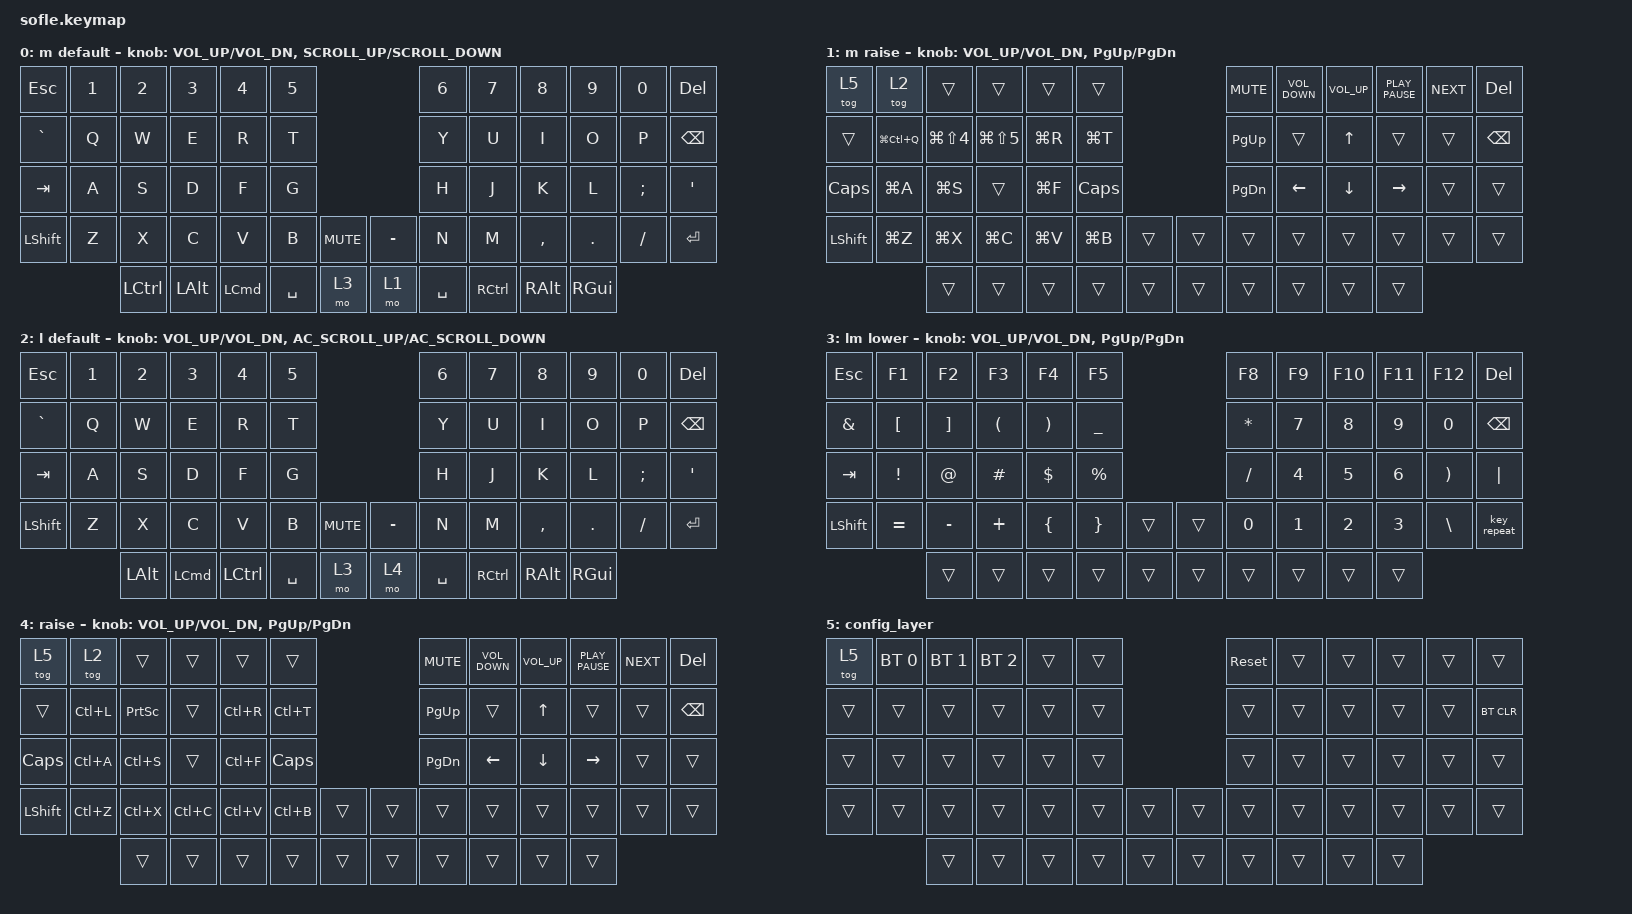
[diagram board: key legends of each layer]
/*
 * Copyright (c) 2020 The ZMK Contributors
 *
 * SPDX-License-Identifier: MIT
 */

#include <behaviors.dtsi>
#include <dt-bindings/zmk/bt.h>
#include <dt-bindings/zmk/keys.h>

#define BASE 0
#define LOWER 1
#define RAISE 2
#define ADJUST 3

/ {
    // Activate ADJUST layer by pressing raise and lower

    conditional_layers {
        compatible = "zmk,conditional-layers";

        boffa {
            if-layers = <2 5>;
            then-layer = <5>;
        };
    };

    keymap {
        compatible = "zmk,keymap";

        default_layer {
            display-name = "m default";

            // ------------------------------------------------------------------------------------------------------------
            // |   `   |  1  |  2  |  3   |  4   |  5   |                   |  6   |  7    |  8    |  9   |   0   |       |
            // |  ESC  |  Q  |  W  |  E   |  R   |  T   |                   |  Y   |  U    |  I    |  O   |   P   | BKSPC |
            // |  TAB  |  A  |  S  |  D   |  F   |  G   |                   |  H   |  J    |  K    |  L   |   ;   |   '   |
            // | SHIFT |  Z  |  X  |  C   |  V   |  B   |  MUTE  |  |       |  N   |  M    |  ,    |  .   |   /   | SHIFT |
            //               | GUI | ALT  | CTRL | LOWER|  ENTER |  | SPACE | RAISE| CTRL  | ALT   | GUI  |

            bindings = <
&kp ESC    &kp N1  &kp N2            &kp N3    &kp N4            &kp N5                              &kp N6     &kp N7     &kp N8     &kp N9    &kp N0    &kp DELETE
&kp GRAVE  &kp Q   &kp W             &kp E     &kp R             &kp T                               &kp Y      &kp U      &kp I      &kp O     &kp P     &kp BACKSPACE
&kp TAB    &kp A   &kp S             &kp D     &kp F             &kp G                               &kp H      &kp J      &kp K      &kp L     &kp SEMI  &kp SQT
&kp LSHFT  &kp Z   &kp X             &kp C     &kp V             &kp B      &kp C_MUTE    &kp MINUS  &kp N      &kp M      &kp COMMA  &kp DOT   &kp FSLH  &kp ENTER
                   &kp LEFT_CONTROL  &kp LALT  &kp LEFT_COMMAND  &kp SPACE  &mo 3         &mo 1      &kp SPACE  &kp RCTRL  &kp RALT   &kp RGUI
            >;

            sensor-bindings =
                <&inc_dec_kp C_VOL_UP C_VOL_DN>,
                <&inc_dec_kp K_SCROLL_UP K_SCROLL_DOWN>;
        };

        raise_layer {
            display-name = "m raise";

            // ------------------------------------------------------------------------------------------------------------
            // | BTCLR | BT1  | BT2  |  BT3  |  BT4  |  BT5 |                |      |      |       |      |       |       |
            // |       | INS  | PSCR | GUI   |       |      |                | PGUP |      |   ^   |      |       |       |
            // |       | ALT  | CTRL | SHIFT |       | CAPS |                | PGDN |   <- |   v   |  ->  |  DEL  | BKSPC |
            // |       | UNDO | CUT  | COPY  | PASTE |      |      |  |      |      |      |       |      |       |       |
            //                |      |       |       |      |      |  |      |      |      |       |      |

            bindings = <
&tog 5          &tog 2         &trans                &trans          &trans     &trans                       &kp K_MUTE  &kp C_VOLUME_DOWN  &kp C_VOLUME_UP  &kp K_PLAY_PAUSE  &kp K_NEXT  &kp DELETE
&trans          &kp LG(LC(Q))  &kp LG(LS(NUMBER_4))  &kp LG(LS(N5))  &kp LG(R)  &kp LG(T)                    &kp PG_UP   &trans             &kp UP           &trans            &trans      &kp BACKSPACE
&kp CLCK        &kp LG(A)      &kp LG(S)             &trans          &kp LG(F)  &kp CLCK                     &kp PG_DN   &kp LEFT           &kp DOWN         &kp RIGHT         &trans      &trans
&kp LEFT_SHIFT  &kp LG(Z)      &kp LG(X)             &kp LG(C)       &kp LG(V)  &kp LG(B)  &trans    &trans  &trans      &trans             &trans           &trans            &trans      &trans
                               &trans                &trans          &trans     &trans     &trans    &trans  &trans      &trans             &trans           &trans
            >;

            sensor-bindings = <&inc_dec_kp C_VOL_UP C_VOL_DN &inc_dec_kp PG_UP PG_DN>;
        };

        linux_default_layer {
            display-name = "l default";
            bindings = <
&kp ESC    &kp N1  &kp N2        &kp N3            &kp N4     &kp N5                              &kp N6     &kp N7     &kp N8     &kp N9    &kp N0    &kp DELETE
&kp GRAVE  &kp Q   &kp W         &kp E             &kp R      &kp T                               &kp Y      &kp U      &kp I      &kp O     &kp P     &kp BACKSPACE
&kp TAB    &kp A   &kp S         &kp D             &kp F      &kp G                               &kp H      &kp J      &kp K      &kp L     &kp SEMI  &kp SQT
&kp LSHFT  &kp Z   &kp X         &kp C             &kp V      &kp B      &kp C_MUTE    &kp MINUS  &kp N      &kp M      &kp COMMA  &kp DOT   &kp FSLH  &kp ENTER
                   &kp LEFT_ALT  &kp LEFT_COMMAND  &kp LCTRL  &kp SPACE  &mo 3         &mo 4      &kp SPACE  &kp RCTRL  &kp RALT   &kp RGUI
            >;

            sensor-bindings =
                <&inc_dec_kp C_VOL_UP C_VOL_DN>,
                <&inc_dec_kp C_AC_SCROLL_UP C_AC_SCROLL_DOWN>;
        };

        lower_layer {
            display-name = "lm lower";

            // TODO: Some binds are waiting for shifted keycode support.
            // ------------------------------------------------------------------------------------------------------------
            // |       |  F1 |  F2 |  F3  |  F4  |  F5  |                   |  F6  |  F7   |  F8   |  F9  |  F10  |  F11  |
            // |   `   |  1  |  2  |  3   |  4   |  5   |                   |  6   |  7    |  8    |  9   |   0   |  F12  |
            // |       |  !  |  @  |  #   |  $   |  %   |                   |  ^   |  &    |  *    |  (   |   )   |   |   |
            // |       |  =  |  -  |  +   |  {   |  }   |        |  |       |  [   |  ]    |  ;    |  :   |   \   |       |
            //               |     |      |      |      |        |  |       |      |       |       |      |

            bindings = <
&kp ESCAPE      &kp F1            &kp F2             &kp F3                &kp F4                 &kp F5                            &kp F8        &kp F9        &kp F10       &kp F11       &kp F12   &kp DELETE
&kp AMPERSAND   &kp LEFT_BRACKET  &kp RIGHT_BRACKET  &kp LEFT_PARENTHESIS  &kp RIGHT_PARENTHESIS  &kp UNDERSCORE                    &kp ASTERISK  &kp N7        &kp N8        &kp N9        &kp N0    &kp BACKSPACE
&kp TAB         &kp EXCL          &kp AT             &kp HASH              &kp DLLR               &kp PRCNT                         &kp SLASH     &kp NUMBER_4  &kp N5        &kp NUMBER_6  &kp RPAR  &kp PIPE
&kp LEFT_SHIFT  &kp EQUAL         &kp MINUS          &kp PLUS              &kp LBRC               &kp RBRC        &trans    &trans  &kp N0        &kp NUMBER_1  &kp NUMBER_2  &kp NUMBER_3  &kp BSLH  &key_repeat
                                  &trans             &trans                &trans                 &trans          &trans    &trans  &trans        &trans        &trans        &trans
            >;

            sensor-bindings = <&inc_dec_kp C_VOL_UP C_VOL_DN &inc_dec_kp PG_UP PG_DN>;
            label = "m lower";
        };

        linux_raised {
            display-name = "raise";
            bindings = <
&tog 5          &tog 2     &trans           &trans     &trans     &trans                       &kp K_MUTE  &kp C_VOLUME_DOWN  &kp C_VOLUME_UP  &kp K_PLAY_PAUSE  &kp K_NEXT  &kp DELETE
&trans          &kp LC(L)  &kp PRINTSCREEN  &trans     &kp LC(R)  &kp LC(T)                    &kp PG_UP   &trans             &kp UP           &trans            &trans      &kp BACKSPACE
&kp CLCK        &kp LC(A)  &kp LC(S)        &trans     &kp LC(F)  &kp CLCK                     &kp PG_DN   &kp LEFT           &kp DOWN         &kp RIGHT         &trans      &trans
&kp LEFT_SHIFT  &kp LC(Z)  &kp LC(X)        &kp LC(C)  &kp LC(V)  &kp LC(B)  &trans    &trans  &trans      &trans             &trans           &trans            &trans      &trans
                           &trans           &trans     &trans     &trans     &trans    &trans  &trans      &trans             &trans           &trans
            >;

            sensor-bindings =
                <&inc_dec_kp C_VOL_UP C_VOL_DN>,
                <&inc_dec_kp PG_UP PG_DN>;

            label = "l raised";
        };

        config_layer {
            bindings = <
&tog 5  &bt BT_SEL 0  &bt BT_SEL 1  &bt BT_SEL 2  &trans  &trans                    &sys_reset  &trans  &trans  &trans  &trans  &trans
&trans  &trans        &trans        &trans        &trans  &trans                    &trans      &trans  &trans  &trans  &trans  &bt BT_CLR
&trans  &trans        &trans        &trans        &trans  &trans                    &trans      &trans  &trans  &trans  &trans  &trans
&trans  &trans        &trans        &trans        &trans  &trans  &trans    &trans  &trans      &trans  &trans  &trans  &trans  &trans
                      &trans        &trans        &trans  &trans  &trans    &trans  &trans      &trans  &trans  &trans
            >;
        };
    };
};
